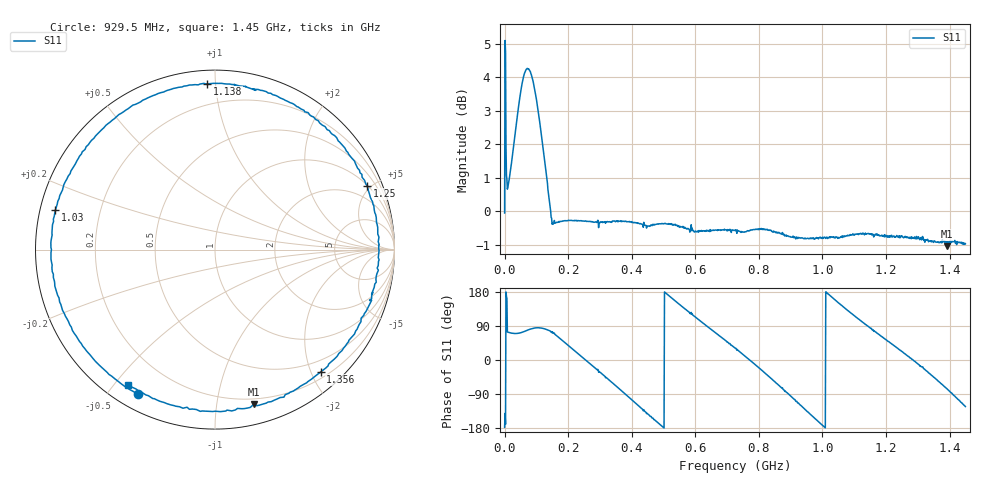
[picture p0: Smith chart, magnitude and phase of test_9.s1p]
! Created with skrf 1.11.0 (http://scikit-rf.org).
# Hz S RI R 50.0
!freq ReS11 ImS11
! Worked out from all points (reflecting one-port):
!   1001 points, 50 kHz to 1.45 GHz, reference 50 ohm
!   lowest |S11| = -1.0 dB at 1.392 GHz (marker M1), VSWR 16.74, Z = 7.87 - j63.6 ohm
!   phase of S11 starts at -178 deg and turns -1025 deg over the sweep
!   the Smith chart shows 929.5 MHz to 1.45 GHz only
!   S11 on the Smith chart (normalised r, x): 929.5 MHz: 0.06, -0.60; 1.03 GHz: 0.04, +0.12; 1.138 GHz: 0.08, +0.95; 1.25 GHz: 1.04, +4.78; 1.356 GHz: 0.30, -2.15; 1.45 GHz: 0.07, -0.54
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50000  -0.9935 -0.0405
1.599945e7  0.3475 1.075
6.819765e7  0.3545 1.59
1.17496e8  0.1344 1.275
1.812938e8  0.5977 0.7596
2.262422e8  0.9086 0.3354
2.697407e8  0.9504 -0.1726
3.625375e8  0.2108 -0.9434
4.103858e8  -0.369 -0.8884
4.65484e8  -0.8536 -0.4275
5.437812e8  -0.8341 0.4612
6.351281e8  -0.00517 0.9372
7.25025e8  0.7978 0.493
8.076722e8  0.8462 -0.4162
8.598704e8  0.3967 -0.8392
9.062688e8  -0.1575 -0.9028
9.29468e8  -0.4272 -0.806
9.816662e8  -0.8495 -0.3378
1.029514e9  -0.8889 0.2204
1.087512e9  -0.5356 0.7525
1.138261e9  -0.0429 0.9233
1.189009e9  0.4575 0.7958
1.249907e9  0.8486 0.3541
1.268756e9  0.8988 0.1681
1.310805e9  0.8731 -0.2715
1.355753e9  0.5878 -0.682
1.392002e9  0.2179 -0.8601
1.45e9  -0.4849 -0.7517
